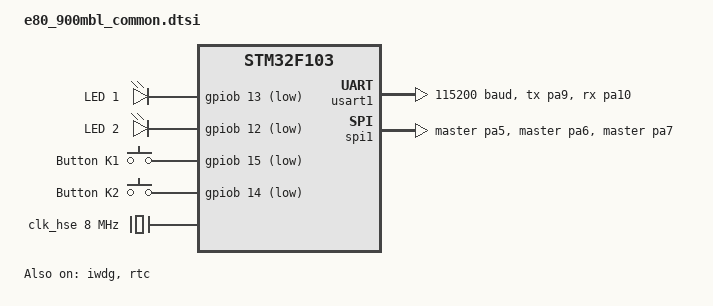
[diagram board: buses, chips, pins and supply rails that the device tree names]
/*
 * Copyright (c) 2026 MASSDRIVER EI (massdriver.space)
 *
 * SPDX-License-Identifier: Apache-2.0
 */

#include <st/f1/stm32f103X8.dtsi>
#include <st/f1/stm32f103r(8-b)tx-pinctrl.dtsi>
#include <dt-bindings/input/input-event-codes.h>

/ {
	compatible = "stm32f103";

	chosen {
		zephyr,console = &usart1;
		zephyr,shell-uart = &usart1;
		zephyr,sram = &sram0;
		zephyr,flash = &flash0;
	};

	leds {
		compatible = "gpio-leds";

		blue_led_0: led_0 {
			gpios = <&gpiob 13 GPIO_ACTIVE_LOW>;
			label = "LED 1";
		};

		blue_led_1: led_1 {
			gpios = <&gpiob 12 GPIO_ACTIVE_LOW>;
			label = "LED 2";
		};
	};

	buttons {
		compatible = "gpio-keys";

		button_k1: sw0 {
			gpios = <&gpiob 15 (GPIO_PULL_UP | GPIO_ACTIVE_LOW)>;
			label = "Button K1";
			zephyr,code = <INPUT_KEY_0>;
		};

		button_k2: sw1 {
			gpios = <&gpiob 14 (GPIO_PULL_UP | GPIO_ACTIVE_LOW)>;
			label = "Button K2";
			zephyr,code = <INPUT_KEY_1>;
		};
	};

	aliases {
		led0 = &blue_led_0;
		led1 = &blue_led_1;
		sw0 = &button_k1;
		sw1 = &button_k2;
		watchdog0 = &iwdg;
	};
};

&clk_lsi {
	status = "okay";
};

&clk_hse {
	clock-frequency = <DT_FREQ_M(8)>;
	status = "okay";
};

&pll {
	mul = <9>;
	clocks = <&clk_hse>;
	status = "okay";
};

&rcc {
	clocks = <&pll>;
	clock-frequency = <DT_FREQ_M(72)>;
	ahb-prescaler = <1>;
	apb1-prescaler = <2>;
	apb2-prescaler = <1>;
	/* usbpre not set: USB clock = 72 / 1.5: 48MHz */
};

&usart1 {
	pinctrl-0 = <&usart1_tx_pa9 &usart1_rx_pa10>;
	pinctrl-names = "default";
	current-speed = <115200>;
	status = "okay";
};

&spi1 {
	pinctrl-0 = <&spi1_sck_master_pa5 &spi1_miso_master_pa6 &spi1_mosi_master_pa7>;
	pinctrl-names = "default";

	cs-gpios = <&gpioa 4 (GPIO_PULL_UP | GPIO_ACTIVE_LOW)>;
	status = "okay";
};

&iwdg {
	status = "okay";
};

&rtc {
	clocks = <&rcc STM32_CLOCK(APB1, 28)>,
		 <&rcc STM32_SRC_LSI RTC_SEL(2)>;
	status = "okay";
};
